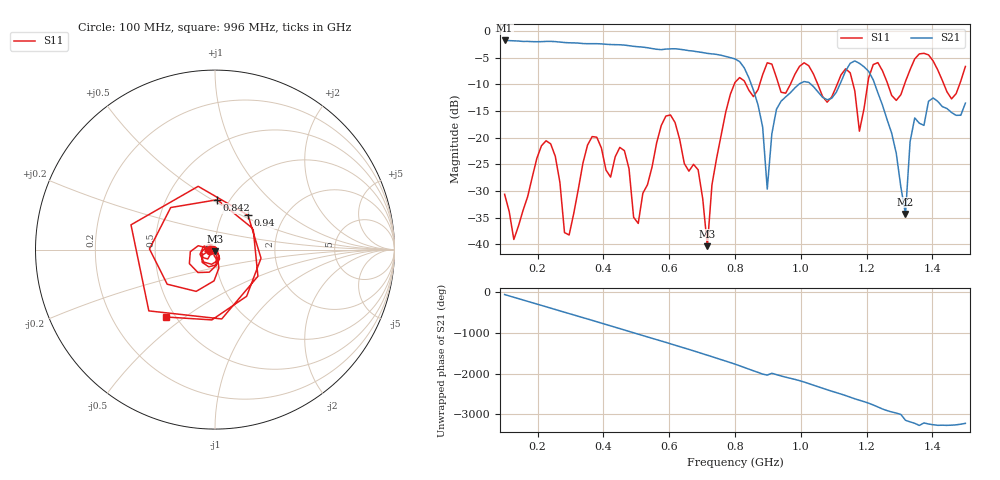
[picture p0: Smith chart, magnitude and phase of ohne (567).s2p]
! NanoVNA-App
! Date: 2025-09-25 14:25:13
! Start: 100MHz Stop: 1,5GHz Points: 101
! S-Parameter data: F S11 S21 S12 S22
# Hz S RI R 50
!  Frequency  S11_Real  S11_Imag  S21_Real  S21_Imag  S12_Real  S12_Imag  S22_Real  S22_Imag
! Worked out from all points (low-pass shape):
!   101 points, 100 MHz to 1.5 GHz, reference 50 ohm
!   highest |S21| = -1.79 dB at 100 MHz (marker M1); lowest = -34.3 dB at 1.318 GHz (marker M2)
!   |S21| within 3 dB of the highest: start of sweep to 771.9 MHz
!   lowest |S11| = -40.4 dB at 716 MHz (marker M3), VSWR 1.02, Z = 49.8 - j0.944 ohm
!   |S11| at or under -10 dB: start of sweep to 797.8 MHz; 833.1 MHz to 875.1 MHz (41.95 MHz wide, 4.91 % of centre); 1.051 GHz to 1.111 GHz (59.14 MHz wide, 5.47 % of centre) (the widest 3 of 7)
!   S12 and S22 are empty: the file has one direction only
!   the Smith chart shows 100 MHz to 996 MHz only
!   S11 on the Smith chart (normalised r, x): 100 MHz: 0.94, -0.01; 842 MHz: 0.88, +0.53; 940 MHz: 1.32, +0.55; 996 MHz: 0.44, -0.43
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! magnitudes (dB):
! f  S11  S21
! 100 MHz  -30.6  -1.8
! 128 MHz  -39.1  -1.9
! 226 MHz  -20.6  -2.0
! 296 MHz  -38.3  -2.2
! 338 MHz  -24.8  -2.4
! 464 MHz  -22.5  -2.7
! 506 MHz  -36.1  -3.0
! 576 MHz  -17.7  -3.5
! 688 MHz  -26.0  -3.9
! 716 MHz  -40.4  -4.2
! 800 MHz  -9.7  -5.3
! 842 MHz  -11.1  -8.8
! 898 MHz  -6.0  -29.7
! 940 MHz  -11.5  -13.2
! 996 MHz  -6.6  -9.9
! 1.038 GHz  -8.0  -10.4
! 1.178 GHz  -18.8  -6.1
! 1.22 GHz  -6.3  -9.2
! 1.276 GHz  -12.1  -19.2
! 1.318 GHz  -9.5  -34.3
! 1.346 GHz  -5.3  -16.3
! 1.5 GHz  -6.7  -13.5
